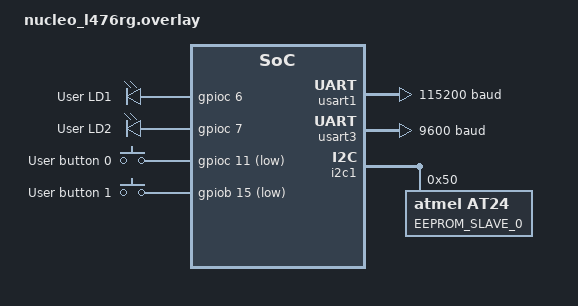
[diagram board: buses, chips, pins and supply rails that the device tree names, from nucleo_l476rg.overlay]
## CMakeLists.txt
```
# Boilerplate code, which pulls in the Zephyr build system.
cmake_minimum_required(VERSION 3.13.1)
macro(set_conf_file)
  if(EXISTS ${APPLICATION_SOURCE_DIR}/boards/${BOARD}.conf)
    set(CONF_FILE "prj.conf ${APPLICATION_SOURCE_DIR}/boards/${BOARD}.conf")
  else()
    set(CONF_FILE "prj.conf")
  endif()
endmacro()
include($ENV{ZEPHYR_BASE}/cmake/app/boilerplate.cmake NO_POLICY_SCOPE)

project(loraiot)
# Add all sources files from src/ recuresively
FILE(GLOB_RECURSE csources src/*.c)
target_sources(app PRIVATE ${csources})

# add inc/ to include dir
target_include_directories(app PRIVATE inc/)

#FILE(GLOB app_sources src/*.c)
#target_sources(app PRIVATE ${app_sources})
```

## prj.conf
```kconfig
# disable assertion in production

CONFIG_LORA=y
CONFIG_LORA_IM881A=y
CONFIG_UART_INTERRUPT_DRIVEN=y

CONFIG_SHELL=y
CONFIG_SHELL_LOG_BACKEND=y
CONFIG_KERNEL_SHELL=y
CONFIG_DEVICE_SHELL=y
CONFIG_SHELL_BACKEND_SERIAL=y
CONFIG_OBJECT_TRACING=y
CONFIG_THREAD_MONITOR=y
CONFIG_INIT_STACKS=y
CONFIG_BOOT_BANNER=y
CONFIG_PERFORMANCE_METRICS=y
CONFIG_BOOT_TIME_MEASUREMENT=y
CONFIG_THREAD_NAME=y
CONFIG_LOG=y
CONFIG_LOG_DEFAULT_LEVEL=3
CONFIG_SHELL_HISTORY=y
CONFIG_SHELL_STACK_SIZE=1024
CONFIG_SHELL_CMD_BUFF_SIZE=128
CONFIG_SHELL_WILDCARD=n
CONFIG_SHELL_VT100_COLORS=y
CONFIG_SHELL_HELP_ON_WRONG_ARGUMENT_COUNT=y
CONFIG_SHELL_STATS=y
CONFIG_SHELL_CMDS=y
#CONFIG_SYS_POWER_LOW_POWER_STATE=y
#CONFIG_SYS_POWER_DEEP_SLEEP=y
CONFIG_DEVICE_POWER_MANAGEMENT=y
CONFIG_SYS_POWER_MANAGEMENT=y
#CONFIG_SYS_POWER_LOW_POWER_STATES=y
CONFIG_TICKLESS_IDLE=y
CONFIG_TICKLESS_IDLE_THRESH=1
CONFIG_COUNTER=y
```

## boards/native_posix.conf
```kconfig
CONFIG_UART_NATIVE_POSIX=y
CONFIG_SERIAL=y
CONFIG_LED_STRIP=y
#CONFIG_NATIVE_UART_0_ON_OWN_PTY=y
#CONFIG_SDL_DISPLAY_DEV_NAME="DISPLAY"
#CONFIG_SDL_DISPLAY_X_RES=250
#CONFIG_SDL_DISPLAY_Y_RES=120
#CONFIG_DISPLAY=y
#CONFIG_CFB_LOG_LEVEL_DBG=y
#CONFIG_CHARACTER_FRAMEBUFFER=y
```

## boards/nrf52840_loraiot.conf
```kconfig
CONFIG_LORA_IM881A_UART_DRV_NAME="UART_0"
```

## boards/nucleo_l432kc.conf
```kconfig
CONFIG_POLL=y
CONFIG_SPI=y

CONFIG_OPENOCD_SUPPORT=y

CONFIG_SERIAL=y
CONFIG_UART_STM32=y
CONFIG_UART_1=y

CONFIG_LORA_IM881A_UART_DRV_NAME="UART_1"

CONFIG_PWM=n
CONFIG_CLOCK_STM32_SYSCLK_SRC_MSI=y
CONFIG_CLOCK_STM32_MSI_RANGE=7
CONFIG_CLOCK_STM32_SYSCLK_SRC_PLL=n
CONFIG_CLOCK_STM32_PLL_SRC_HSI=n
#CONFIG_CLOCK_STM32_PLL_M_DIVISOR=n
CONFIG_SYS_CLOCK_HW_CYCLES_PER_SEC=8000000
CONFIG_SYS_POWER_LOW_POWER_STATES=y
CONFIG_SYS_POWER_DEEP_SLEEP_STATES=y
CONFIG_SYS_POWER_MANAGEMENT=y
#CONFIG_COUNTER_RTC_STM32_CLOCK_LSE=y
```

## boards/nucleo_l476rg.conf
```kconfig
CONFIG_POLL=y
CONFIG_SPI=n

CONFIG_OPENOCD_SUPPORT=y

CONFIG_SERIAL=y
CONFIG_UART_STM32=y
CONFIG_UART_1=y
CONFIG_UART_2=y
CONFIG_UART_3=y
CONFIG_LORA_IM881A_UART_DRV_NAME="UART_1"

CONFIG_I2C=y
CONFIG_I2C_GPIO=y
CONFIG_I2C_0=y
CONFIG_I2C_GPIO_0=y
CONFIG_I2C_GPIO_0_GPIO="GPIOB"
CONFIG_I2C_GPIO_0_SCL_PIN=6
CONFIG_I2C_GPIO_0_SDA_PIN=7

CONFIG_PWM=n
CONFIG_CLOCK_STM32_SYSCLK_SRC_MSI=y
CONFIG_CLOCK_STM32_MSI_RANGE=7
CONFIG_CLOCK_STM32_SYSCLK_SRC_PLL=n
CONFIG_CLOCK_STM32_PLL_SRC_HSI=n
#CONFIG_CLOCK_STM32_PLL_M_DIVISOR=n
CONFIG_SYS_CLOCK_HW_CYCLES_PER_SEC=8000000
CONFIG_SYS_POWER_LOW_POWER_STATES=y
CONFIG_SYS_POWER_DEEP_SLEEP_STATES=y
CONFIG_SYS_POWER_MANAGEMENT=y
#CONFIG_COUNTER_RTC_STM32_CLOCK_LSE=y
```

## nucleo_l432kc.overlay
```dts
/*
 * Copyright (c) 2018 Nordic Semiconductor ASA
 *
 * SPDX-License-Identifier: Apache-2.0
 */

 &usart1 {
 	current-speed = <115200>;
 	pinctrl-0 = <&usart1_pins_b>;
 	pinctrl-names = "default";
    status = "ok";
 };
```

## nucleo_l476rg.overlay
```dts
/*
* Copyright (c) 2018 Nordic Semiconductor ASA
*
* SPDX-License-Identifier: Apache-2.0
*/

&usart1 {
	current-speed = <115200>;
	pinctrl-0 = <&usart1_pins_b>;
	pinctrl-names = "default";
   status = "ok";
};

&usart3 {
   current-speed = <9600>;
   pinctrl-0 = <&usart3_pins_b>;
   pinctrl-names = "default";
   status = "ok";
};

&i2c1 {
	eeprom@50 {
		compatible = "atmel,at24";
		reg = <0x50>;
		label = "EEPROM_SLAVE_0";
		size = <1>;
	};
};

/ {
	leds {
		compatible = "gpio-leds";
		green_led_1: led_1 {
			gpios = <&gpioc 6 GPIO_INT_ACTIVE_HIGH>;
			label = "User LD1";
		};
		red_led_2: led_2 {
			gpios = <&gpioc 7 GPIO_INT_ACTIVE_HIGH>;
			label = "User LD2";
		};
	};

	gpio_keys {
		compatible = "gpio-keys";
		user_button0: button0 {
			label = "User button 0";
			gpios = <&gpioc 11 GPIO_INT_ACTIVE_LOW>;
		};
        user_button1: button1 {
			label = "User button 1";
			gpios = <&gpiob 15 GPIO_INT_ACTIVE_LOW>;
		};
	};

	aliases {
		led0 = &green_led_1;
        led1 = &red_led_2;
		sw0 = &user_button0;
        sw1 = &user_button1;
	};
};
```

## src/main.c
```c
/*
 * Copyright (c) 2017 Intel Corporation
 *
 * SPDX-License-Identifier: Apache-2.0
 */

#include <zephyr.h>
#include <logging/sys_log.h>
#include <board_utils.h>
#include "shell_lora.h"
#include <kernel.h>
#include <device.h>
#include "stm32_lp.h"

#include <string.h>

#include "lora.h"
#include "gps.h"
#include "saved_config.h"
#include "global.h"
#include <sensor.h>

struct global_t global;

#include <logging/log.h>
LOG_MODULE_REGISTER(main, LOG_LEVEL_DBG);

#if CONFIG_LORA_IM881A
#include <im881a.h>
#endif

#include <device.h>
#include <gpio.h>
#include <crc.h>

static void leds_init(void)
{
	struct device *led0_dev = device_get_binding(LED0_GPIO_CONTROLLER);
	struct device *led1_dev = device_get_binding(LED1_GPIO_CONTROLLER);
	gpio_pin_configure(led0_dev, LED0_GPIO_PIN, GPIO_DIR_OUT);
	gpio_pin_configure(led1_dev, LED1_GPIO_PIN, GPIO_DIR_OUT);

	gpio_pin_write(led0_dev, LED0_GPIO_PIN, 1);
	gpio_pin_write(led1_dev, LED1_GPIO_PIN, 1);
}

static void led0_set(u32_t value)
{
	struct device *led0_dev = device_get_binding(LED0_GPIO_CONTROLLER);
	gpio_pin_write(led0_dev, LED0_GPIO_PIN, value);
}

static void led1_set(u32_t value)
{
	struct device *led1_dev = device_get_binding(LED1_GPIO_CONTROLLER);
	gpio_pin_write(led1_dev, LED1_GPIO_PIN, value);
}

#include <kernel.h>
#include <arch/cpu.h>
#include <misc/__assert.h>
#include <soc.h>
#include <init.h>
#include <uart.h>
#include <clock_control.h>

#include <linker/sections.h>
#include <clock_control/stm32_clock_control.h>
#include "../drivers/serial/uart_stm32.h"
#define DEV_CFG(dev)							\
	((const struct uart_stm32_config * const)(dev)->config->config_info)
#define DEV_DATA(dev)							\
	((struct uart_stm32_data * const)(dev)->driver_data)
#define UART_STRUCT(dev)					\
	((USART_TypeDef *)(DEV_CFG(dev))->uconf.base)

struct periodic_timer_t
{
	u32_t next;
	u32_t period;
	u32_t enable;
};

static u32_t expiry(const struct periodic_timer_t *t, u32_t now)
{
	u32_t x = now - t->next;
	if (x > INT32_MAX)
	{
		return 0;
	}

	return x;
}

static u32_t expired(const struct periodic_timer_t *t, u32_t now)
{
	return (now - t->next) > 0 && t->enable;
}

static u32_t expired_restart(struct periodic_timer_t *t, u32_t now)
{
	u32_t ex = 0;

	if (expired(t, now))
	{
		ex = 1;

		t-> next = ((now / t->period) + 1) * t->period;
	}

	return ex;
}

static void restart_psnr(struct periodic_timer_t *t, u32_t now, u32_t pr)
{
	t->next = (((now / t->period) + 1) * t->period) + (pr % t->period);
}

static struct periodic_timer_t measure_timer =
{
	.next = 0,
	.period = 5*60,
	.enable = 1,
};

static struct periodic_timer_t tx_timer =
{
	.next = 0,
	.period = 15*60,
	.enable = 1,
};

static struct periodic_timer_t sync_timer =
{
	.next = 0,
	.period = 12*60*60,
	.enable = 1,
};

static const struct periodic_timer_t *timers[] =
{
	&measure_timer,
	&tx_timer,
	&sync_timer,
};

static u32_t expiry_min(const struct periodic_timer_t **ts, size_t nr, u32_t now)
{
	u32_t min = INT32_MAX;

	for (int i = 0 ; i < nr ; i++)
	{
		u32_t ex = expiry(ts[i], now);

		if (ex < min)
		{
			min = ex;
		}
	}

	return min;
}

static void tick(u32_t now)
{
	u32_t last_measure_ts = 0;

	if (expired_restart(&measure_timer, now))
	{
		// FIXME do the measure
		last_measure_ts = now;
	}

	if (expired(&tx_timer, now))
	{
		// FIXME do the TX
		u8_t devaddr[6] = {1,2,3,4,5,6}; // FIMXE
		u8_t data[10];
		memcpy(&data[0], devaddr, sizeof(devaddr));
		memcpy(&data[6], &last_measure_ts, sizeof(last_measure_ts));
		u32_t pr = crc32_ieee(data, sizeof(data));
		restart_psnr(&tx_timer, now, pr);
	}

	if (expired_restart(&sync_timer, now))
	{
		// FIXME request time or do gps sync
	}

	u32_t sleep = expiry_min(timers, ARRAY_SIZE(timers), now);
}


void main(void)
{
	int ret;

	LOG_DBG("main");

	struct device *dev;

	/* Disable vbat measure */
	dev = device_get_binding(DT_GPIO_STM32_GPIOC_LABEL);
	ret = gpio_pin_configure(dev, 0, (GPIO_DIR_IN));
	dev = device_get_binding(DT_GPIO_STM32_GPIOA_LABEL);
	ret = gpio_pin_configure(dev, 8, (GPIO_DIR_IN));

	/* disable rx/tx radio for firmware update */
	#if 0
	{
		dev = device_get_binding(DT_GPIO_STM32_GPIOA_LABEL);
		ret = gpio_pin_configure(dev, 9, (GPIO_DIR_IN));
		if (ret) {
			printk("Error configuring pin PA%d!\n", 9);
		}
		ret = gpio_pin_configure(dev, 10, (GPIO_DIR_IN));
		if (ret) {
			printk("Error configuring pin PA%d!\n", 10);
		}
	}
	#endif

	/*
	USART_TypeDef *UartInstance = UART_STRUCT(device_get_binding("UART_2"));

	printk("UART_2->BRR:%"PRIu32"\n", UartInstance->BRR);
	*/

	lp_init();
	leds_init();
	psu_5v(0);
	psu_ind(0);
	psu_charge(1);
	psu_cpu_hp(1);
	saved_config_init();
	gps_off();

	lora_off();

	led0_set(0);
	led1_set(0);

	//stm32_swd_off();
	//stm32_sleep(10000);
	stm32_swd_on();
	//k_sleep(3000);
	//stm32_sleep(0);

	//gps_init();

	//
	lora_on();
	lora_init();
	//lora_shell_pm();
}
```

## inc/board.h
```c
/*************************************************************************//**
 * \file board.h
 * \brief board include selection
 *
 * \author Marc Pignat
 * \copyright Copyright (c) 2019 Marc Pignat
 *
 **************************************************************************//*
 * SPDX-License-Identifier: Apache-2.0
 ****************************************************************************/

#ifndef INC_BOARD_H
#define INC_BOARD_H

#ifdef CONFIG_BOARD_NRF52840_LORAIOT
#include <board.h>
#endif

#ifdef __cplusplus
extern "C"
{
#endif

#ifdef __cplusplus
}
#endif

#endif /* INC_BOARD_H */
```

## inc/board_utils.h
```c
/*************************************************************************//**
 * \file board_utils.h
 * \brief board include selection
 *
 * \author Marc Pignat
 * \copyright Copyright (c) 2019 Marc Pignat
 *
 **************************************************************************//*
 * SPDX-License-Identifier: Apache-2.0
 ****************************************************************************/

#ifndef INC_BOARD_UTILS_H
#define INC_BOARD_UTILS_H

#ifdef CONFIG_BOARD_NRF52840_LORAIOT
#include <board_utils.h>
#else

#define SENSOR_ACTIVATE(name)	do {} while (0)
#define SENSOR_DEACTIVATE(name)	do {} while (0)

#define VDDH_ACTIVATE()			do {} while (0)
#define VDDH_DEACTIVATE()		do {} while (0)
#define VDDH_IS_ENABLED()		do {} while (0)

#define NOT_IN_DEBUG()	( 1 )

#ifdef __cplusplus
extern "C"
{
#endif

static inline void power_sensor(const char *name, u8_t power){}
static inline void enable_high_voltage(u8_t status){}
static inline void led_on(u8_t led){}
static inline void led_off(u8_t led){}
static inline void led_toggle(u8_t led){}
static inline void blink_led(u8_t led, u32_t period_ms, u32_t duration_ms){}

#ifdef __cplusplus
}
#endif

#endif

#endif /* INC_BOARD_UTILS_H */
```

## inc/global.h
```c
/*************************************************************************//**
 * \file gloabl.h
 * \brief board include selection
 *
 * \author Marc Pignat
 * \copyright Copyright (c) 2019 Marc Pignat
 *
 **************************************************************************//*
 * SPDX-License-Identifier: Apache-2.0
 ****************************************************************************/

#ifndef GLOBAL_H
#define GLOBAL_H

struct global_t
{
	u8_t lora_TokenReq;
};

#ifdef __cplusplus
extern "C"
{
#endif

extern struct global_t global;

#ifdef __cplusplus
}
#endif

#endif /* GLOBAL_H */
```

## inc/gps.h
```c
#ifndef GPS_H
#define GPS_H

#ifdef __cplusplus
extern "C"
{
#endif

void gps_init(void);
void gps_off(void);

#ifdef __cplusplus
}
#endif

#endif /* GPS_H */
```

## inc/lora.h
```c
#ifndef _LORA_H
#define _LORA_H

#include <stdint.h>

#ifdef __cplusplus
extern "C"
{
#endif

void lora_init(void);
void lora_off(void);
void disable_uart(void);
void enable_uart(void);
void lora_time_AppTimeReq(uint8_t AnsRequired);

#ifdef __cplusplus
}
#endif

#endif /* _LORA_H */
```

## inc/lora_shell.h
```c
#ifndef LORA_SHELL_H
#define LORA_SHELL_H

void lora_shell_pm(void);

#endif /* LORA_SHELL_H */
```

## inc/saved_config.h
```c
#ifndef SAVED_CONFIG_H
#define SAVED_CONFIG_H

#include <stdint.h>

#ifdef __cplusplus
extern "C"
{
#endif

struct saved_config_t
{
	uint32_t version;
	uint32_t boot_count;
	uint32_t revision;
	uint8_t _reserved[48+2*64];
	uint32_t crc;
};

void saved_config_init(void);

int saved_config_read(struct saved_config_t *config);
int saved_config_save(struct saved_config_t *config);

#ifdef __cplusplus
}
#endif

#endif /* SAVED_CONFIG_H */
```

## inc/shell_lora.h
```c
#ifndef SHELL_LORA_H
#define SHELL_LORA_H

void lora_shell_pm(void);

#endif /* SHELL_LORA_H */
```

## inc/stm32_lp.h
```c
#ifndef STM32_LP_H
#define STM32_LP_H

#ifdef __cplusplus
extern "C"
{
#endif

void stm32_sleep(u32_t duration);
void stm32_swd_off(void);
void stm32_swd_on(void);
void psu_5v(u32_t enable);
void psu_ind(u32_t enable);
void psu_charge(u32_t enable);
void psu_cpu_hp(u32_t enable);
void lp_init(void);

#ifdef __cplusplus
}
#endif

#endif /* STM32_LP_H */
```

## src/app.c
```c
#include <zephyr.h>
#include <logging/sys_log.h>
#include <board_utils.h>

#include <kernel.h>
#include <device.h>
#include <gpio.h>

#include <string.h>

#include "sensors.h"
#include "lora.h"
#include <sensor.h>
#include <lpcomp.h>

#if CONFIG_SEGGER_SYSTEMVIEW
#include <systemview/SEGGER_SYSVIEW.h>
#include "sysview.h"
#endif

#if CONFIG_LORA
#include <wimod_lorawan_api.h>
#endif

#define SOUND_DETECTION_WINDOW		180 // seconds
#define SOUND_BLIND_TIME			120	// seconds
#define LORA_MOTION_SOUND_PORT		5

#if CONFIG_LORA
K_THREAD_STACK_DEFINE(lora_msg_stack, 1024);
static struct k_work_q lora_msg_work_q;
static u8_t sound_activated;

struct lora_msg {
	u8_t port;
	u8_t data[20];
	u8_t size;
	struct k_work work;
};

static struct lora_msg lmsg;
#endif // CONFIG_LORA


#if CONFIG_PYD1588
static struct sensor_trigger motion_trig;

#if CONFIG_ANALOGMIC
void disable_sound_detection(struct k_timer *timer_id)
{
	// No detection during SOUND_DETECTION_WINDOW seconds:
	// disable the microphone and re-enable back the motion detector

    SYS_LOG_INF("Microphone disabled. Motion re-enabled.\n");

#if CONFIG_LPCOMP_NRF5
	struct device *lpcomp;
	lpcomp = device_get_binding(CONFIG_LPCOMP_NRF5_DEV_NAME);
	lpcomp_disable(lpcomp);
#endif

	SENSOR_DEACTIVATE(CONFIG_ANALOGMIC_NAME);
	sound_activated = 0;
	SENSOR_ACTIVATE(CONFIG_PYD1588_NAME);
	blink_led(LED_RED, MSEC_PER_SEC/2, K_SECONDS(3));

#if CONFIG_SEGGER_SYSTEMVIEW
    SEGGER_SYSVIEW_PrintfHost("Microphone disabled. Motion re-enabled.");
#endif

#if CONFIG_LORA
	lmsg.data[0] = 0x30;
	lmsg.size = 1;
	lmsg.port = LORA_MOTION_SOUND_PORT;
	k_work_submit(&lmsg.work);
#endif
}
K_TIMER_DEFINE(sound_detection_timeout, disable_sound_detection, NULL);

void enable_sound_detection(struct k_timer *timer_id)
{
	SENSOR_ACTIVATE(CONFIG_ANALOGMIC_NAME);
	sound_activated = 1;
	SYS_LOG_INF("Sound detection re-enabled\n");
#if CONFIG_SEGGER_SYSTEMVIEW
    SEGGER_SYSVIEW_PrintfHost("Microphone enabled for %d", SOUND_DETECTION_WINDOW);
#endif
	k_timer_start(&sound_detection_timeout, K_SECONDS(SOUND_DETECTION_WINDOW), 0);
}
K_TIMER_DEFINE(sound_timeout, enable_sound_detection, NULL);

#endif

static void motion_handler(struct device *dev, struct sensor_trigger *trig)
{
	SYS_LOG_INF("Motion detected 2\n");
	blink_led(LED_GREEN, MSEC_PER_SEC/8, K_SECONDS(2));
	SENSOR_DEACTIVATE(CONFIG_PYD1588_NAME);
#if CONFIG_ANALOGMIC
	k_timer_start(&sound_timeout, K_SECONDS(SOUND_BLIND_TIME), 0);
#endif

#if CONFIG_SEGGER_SYSTEMVIEW
    SEGGER_SYSVIEW_PrintfHost("Motion detected");
#endif

#if CONFIG_LORA
	lmsg.data[0] = 0x10;
	lmsg.size = 1;
	lmsg.port = LORA_MOTION_SOUND_PORT;
	k_work_submit(&lmsg.work);
#endif
}
#endif

#if CONFIG_ANALOGMIC
static struct sensor_trigger sound_trig;

static void sound_handler(struct device *dev, struct sensor_trigger *trig)
{
	SYS_LOG_INF("Sound detected 2\n");
	k_timer_stop(&sound_detection_timeout);

#if CONFIG_LPCOMP_NRF5
	struct device *lpcomp;
	lpcomp = device_get_binding(CONFIG_LPCOMP_NRF5_DEV_NAME);
	lpcomp_disable(lpcomp);
#endif

	blink_led(LED_BLUE, MSEC_PER_SEC/4, K_SECONDS(1));

	SENSOR_DEACTIVATE(CONFIG_ANALOGMIC_NAME);
	k_timer_start(&sound_timeout, K_SECONDS(SOUND_BLIND_TIME), 0);

#if CONFIG_SEGGER_SYSTEMVIEW
    SEGGER_SYSVIEW_PrintfHost("Sound detected");
#endif

#if CONFIG_LORA
	lmsg.data[0] = 0x20;
	lmsg.size = 1;
	lmsg.port = LORA_MOTION_SOUND_PORT;
	k_work_submit(&lmsg.work);
#endif

}
#endif

#if CONFIG_LORA
static void lora_msg_send(struct k_work *item)
{
	struct lora_msg *msg = CONTAINER_OF(item, struct lora_msg, work);

	enable_uart();
	wimod_lorawan_send_c_radio_data(msg->port, msg->data, msg->size);
	disable_uart();

	VDDH_DEACTIVATE();

}
#endif

static void app()
{
	struct device *dev;

	SYS_LOG_DBG("Start application\n");

#if CONFIG_PYD1588
	dev = device_get_binding(CONFIG_PYD1588_NAME);
	motion_trig.type = SENSOR_TRIG_TAP;
	if(sensor_trigger_set(dev, &motion_trig, motion_handler) < 0){
		SYS_LOG_ERR("Cannot enable tap trigger for motion.");
	}

	SENSOR_ACTIVATE(CONFIG_PYD1588_NAME);
#endif

#if CONFIG_ANALOGMIC
	dev = device_get_binding(CONFIG_ANALOGMIC_NAME);
	sound_trig.type = SENSOR_TRIG_TAP;
	if(sensor_trigger_set(dev, &sound_trig, sound_handler) < 0){
		SYS_LOG_ERR("Cannot enable tap trigger for sound.");
	}

#if CONFIG_LPCOMP_NRF5
	struct device *lpcomp;
	lpcomp = device_get_binding(CONFIG_LPCOMP_NRF5_DEV_NAME);
	lpcomp_disable(lpcomp);
#endif
#endif

#if CONFIG_LORA
	k_work_q_start(&lora_msg_work_q, lora_msg_stack,
		   K_THREAD_STACK_SIZEOF(lora_msg_stack), K_PRIO_PREEMPT(0));

	k_work_init(&lmsg.work, lora_msg_send);
#endif
}

static void periodic_app()
{
	struct device *dev;
	struct sensor_value sense_value;
	int ret;
	double temp;
	u8_t tx_data[15];
	u16_t value;

	while (1) {

#if 1
		tx_data[0] = 0x01;

		/* Temperature & Humidity */
		/***********************************************************************/
		SENSOR_ACTIVATE(CONFIG_SHTC1_NAME);

		dev = device_get_binding(CONFIG_SHTC1_NAME);
		ret = sensor_sample_fetch(dev);
		if (ret) {
			SYS_LOG_ERR("Sample fetch failed %d\n", ret);
		}

		SENSOR_DEACTIVATE(CONFIG_SHTC1_NAME);

		ret = sensor_channel_get(dev, SENSOR_CHAN_AMBIENT_TEMP, &sense_value);
		temp = sensor_value_to_double(&sense_value);
		value = (int)(temp*100);
		tx_data[1] = value >> 8;
		tx_data[2] = value;

		ret = sensor_channel_get(dev, SENSOR_CHAN_HUMIDITY, &sense_value);
		temp = sensor_value_to_double(&sense_value);
		value = (int)(temp*100);
		tx_data[3] = value >> 8;
		tx_data[4] = value;

		/* Light */
		/***********************************************************************/
		SENSOR_ACTIVATE(CONFIG_OPT3002_NAME);
		dev = device_get_binding(CONFIG_OPT3002_NAME);
		ret = sensor_sample_fetch(dev);
		if (ret) {
			SYS_LOG_ERR("Sample fetch failed %d\n", ret);
		}
		SENSOR_DEACTIVATE(CONFIG_OPT3002_NAME);

		ret = sensor_channel_get(dev, SENSOR_CHAN_LIGHT, &sense_value);
		temp = sensor_value_to_double(&sense_value);
		value = (int)(temp/1000); // in uW/cm2
		tx_data[5] = value >> 8;
		tx_data[6] = value;


		/* Voltages */
		/***********************************************************************/
		VDDH_ACTIVATE();
		SENSOR_ACTIVATE(CONFIG_PAC1934_NAME);
		dev = device_get_binding(CONFIG_PAC1934_NAME);
		ret = sensor_sample_fetch(dev);
		if (ret) {
			SYS_LOG_ERR("Sample fetch failed %d\n", ret);
		}
		SENSOR_DEACTIVATE(CONFIG_PAC1934_NAME);

		// Primary battery voltage
		ret = sensor_channel_get(dev, SENSOR_CHAN_VOLTAGE_1, &sense_value);
		temp = sensor_value_to_double(&sense_value);
		value = (int)(temp*1000);
		tx_data[7] = value >> 8;
		tx_data[8] = value;

		// Secondary battery voltage
		ret = sensor_channel_get(dev, SENSOR_CHAN_VOLTAGE_2, &sense_value);
		temp = sensor_value_to_double(&sense_value);
		value = (int)(temp*1000);
		tx_data[9] = value >> 8;
		tx_data[10] = value;

		// Solar voltage
		ret = sensor_channel_get(dev, SENSOR_CHAN_VOLTAGE_4, &sense_value);
		temp = sensor_value_to_double(&sense_value);
		value = (int)(temp*1000);
		tx_data[11] = value >> 8;
		tx_data[12] = value;

		// Solar current
		ret = sensor_channel_get(dev, SENSOR_CHAN_CURRENT_4, &sense_value);
		temp = sensor_value_to_double(&sense_value);
		value = (int)(temp*1e6); // in uA
		tx_data[13] = value >> 8;
		tx_data[14] = value;
#endif

#if CONFIG_LORA
		memcpy(lmsg.data, tx_data, 15);
		lmsg.size = 15;
		lmsg.port = 1;
		k_work_submit(&lmsg.work);
#endif

		// BUG: Patch: need to deactivate the microphone while sending lora message.
		// Somehow the voltage drops below 1.8V when the a lora packet is sent while
		// the microphone is activated.
		if(sound_activated){
		    SENSOR_ACTIVATE(CONFIG_ANALOGMIC_NAME);
		}
		k_sleep(MSEC_PER_SEC*300);
		if(sound_activated){
#if CONFIG_LPCOMP_NRF5
            struct device *lpcomp;
            lpcomp = device_get_binding(CONFIG_LPCOMP_NRF5_DEV_NAME);
            lpcomp_disable(lpcomp);
#endif
		    SENSOR_DEACTIVATE(CONFIG_ANALOGMIC_NAME);
		}
	}
}

K_THREAD_DEFINE(app_thread_id, 1024, app, NULL, NULL, NULL,
        K_PRIO_PREEMPT(0), 0, K_NO_WAIT);


K_THREAD_DEFINE(periodic_app_thread_id, 1024, periodic_app, NULL, NULL, NULL,
		K_PRIO_PREEMPT(10), 0, K_SECONDS(5));
```

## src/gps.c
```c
#include "gps.h"
#include <zephyr.h>

#include <logging/log.h>
LOG_MODULE_REGISTER(gps, LOG_LEVEL_DBG);

static struct device *uart;
static struct uart_device_config *uart_cfg;

#include <uart.h>
#include <gpio.h>

#include <pinmux.h>
#include <sys_io.h>

#include <pinmux/stm32/pinmux_stm32.h>

/* manual pin assignments*/
static const struct pin_config pinconf[] = {
	{STM32_PIN_PC4, STM32L4X_PINMUX_FUNC_PC4_USART3_TX},
	{STM32_PIN_PC5, STM32L4X_PINMUX_FUNC_PC5_USART3_RX},
};

static K_FIFO_DEFINE(gps_fifo);
struct data_item_t {
	void *fifo_reserved;   /* 1st word reserved for use by fifo */
	char data[100];
};

static struct data_item_t isr_buffer;
static u32_t isr_index = 0;

static void gps_uart_isr(struct device *unused)
{
	ARG_UNUSED(unused);

	while (uart_irq_update(uart) && uart_irq_is_pending(uart))
	{

		if (!uart_irq_rx_ready(uart)) {
			if (uart_irq_tx_ready(uart)) {
				LOG_DBG("transmit ready");
			} else {
				LOG_DBG("spurious interrupt");
			}
			/* Only the UART RX path is interrupt-enabled */
			break;
		}

		int n;

		for (;;)
		{
			uint8_t buf;
			n = uart_fifo_read(uart, &buf, sizeof(buf));
			if (n <= 0) break;

			if (isr_index > ARRAY_SIZE(isr_buffer.data) - 1)
			{
				isr_index = 0;
			}

			if (buf == '\r')
			{
				continue;
			}

			if (buf == '\n')
			{
				isr_buffer.data[isr_index++] = 0;
				isr_index = 0;
				k_fifo_put(&gps_fifo, &isr_buffer);
				continue;
			}

			isr_buffer.data[isr_index++] = buf;
		}
	}
}

void gps_thread(void *u1, void *u2, void *u3)
{
	ARG_UNUSED(u1);
	ARG_UNUSED(u2);
	ARG_UNUSED(u3);

	int ret;
	struct device *dev;

	struct uart_config c = {
		.baudrate	= 9600,
		.parity		= UART_CFG_PARITY_NONE,
		.stop_bits	= UART_CFG_STOP_BITS_1,
		.data_bits	= UART_CFG_DATA_BITS_8,
		.flow_ctrl	= UART_CFG_FLOW_CTRL_NONE,
	};

	/*usart pins*/
	stm32_setup_pins(pinconf, ARRAY_SIZE(pinconf));

	uart = device_get_binding("UART_3");
	LOG_DBG("uart = %p", uart);
	uart_cfg = (struct uart_device_config *)(uart->config->config_info);
	if (!uart) {
		printk("Error uart not found");
	}

	ret = uart_configure(uart, &c);
	if (ret) {
		printk("Error uart config failed");
	}

	uart_irq_rx_disable(uart);
	uart_irq_tx_disable(uart);

	uart_irq_callback_set(uart, gps_uart_isr);

	uart_irq_rx_enable(uart);

	/* Power on gps module */
	dev = device_get_binding(DT_GPIO_STM32_GPIOC_LABEL);
	ret = gpio_pin_configure(dev, 13, (GPIO_DIR_OUT));
	if (ret) {
		printk("Error configuring pin PC%d!\n", 13);
	}

	ret = gpio_pin_write(dev, 13, 1);
	if (ret) {
		printk("Error set pin PC%d!\n", 13);
	}

	/* backup on gps module */
	if (1)
	{
		dev = device_get_binding(DT_GPIO_STM32_GPIOA_LABEL);
		ret = gpio_pin_configure(dev, 12, (GPIO_DIR_OUT));
		if (ret) {
			printk("Error configuring pin PA%d!\n", 12);
		}

		ret = gpio_pin_write(dev, 12, 1);
		if (ret) {
			printk("Error set pin PA%d!\n", 12);
		}
	}

	for (;;)
	{
		struct data_item_t *buffer = k_fifo_get(&gps_fifo, K_FOREVER);

		LOG_DBG("gps rx:'%s'", buffer->data);
	}
}

#if 0
K_THREAD_DEFINE(gps_tid, 1024,
                gps_thread, NULL, NULL, NULL,
                5, 0, K_NO_WAIT);
#endif

void gps_init(void)
{

}

void gps_off(void)
{
	int ret;
	struct device *dev;

	/* Power off gps backup */
	dev = device_get_binding(DT_GPIO_STM32_GPIOA_LABEL);
	ret = gpio_pin_configure(dev, 12, (GPIO_DIR_OUT));
	ret = gpio_pin_write(dev, 12, 0);

	/* Power off gps module */
	dev = device_get_binding(DT_GPIO_STM32_GPIOC_LABEL);
	ret = gpio_pin_configure(dev, 13, (GPIO_DIR_OUT));
	ret = gpio_pin_write(dev, 13, 0);

	/* Disable uart pins */
	dev = device_get_binding(DT_GPIO_STM32_GPIOC_LABEL);
	ret = gpio_pin_configure(dev, 4, (GPIO_DIR_IN));
	ret = gpio_pin_configure(dev, 5, (GPIO_DIR_IN));

	/* Disable PPS pin */
	dev = device_get_binding(DT_GPIO_STM32_GPIOC_LABEL);
	ret = gpio_pin_configure(dev, 12, (GPIO_DIR_IN));
}
```

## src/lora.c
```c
#include "lora.h"
#include <zephyr.h>

#include <logging/log.h>
#include <device.h>
#include <counter.h>
#include "global.h"
#include <pinmux/stm32/pinmux_stm32.h>

LOG_MODULE_REGISTER(lora, LOG_LEVEL_DBG);

#ifdef CONFIG_LORA_IM881A
#include <wimod_lorawan_api.h>
#endif

#ifdef CONFIG_BOARD_NRF52840_LORAIOT
#include <board_utils.h>
#endif

#include <gpio.h>

static struct device *uart;
static struct uart_device_config *uart_cfg;

K_THREAD_STACK_DEFINE(lora_msg_stack, 1024);
static struct k_work_q lora_msg_work_q;

struct lora_msg {
	u8_t port;
	u8_t data[20];
	u8_t size;
	struct k_work work;
};

static struct lora_msg lmsg;

#include <uart.h>

void join_callback()
{
	LOG_INF("LoRaWAN Network started.\n");
	//blink_led(LED_GREEN, MSEC_PER_SEC/4, K_SECONDS(3));
	#ifdef CONFIG_BOARD_NRF52840_LORAIOT
		VDDH_DEACTIVATE();
	#endif
}

void disable_uart()
{
	#ifdef CONFIG_BOARD_NRF52840_LORAIOT
	if( NOT_IN_DEBUG() ){
		*(uart_cfg->base + 0x500) = 0;
	}
	#endif
}

void enable_uart()
{
	#ifdef CONFIG_BOARD_NRF52840_LORAIOT
	if( NOT_IN_DEBUG() ){
		*(uart_cfg->base + 0x500) = 4UL;
	}
	#endif
}

static void lora_msg_send(struct k_work *item)
{
	struct lora_msg *msg = CONTAINER_OF(item, struct lora_msg, work);

	enable_uart();
	wimod_lorawan_send_c_radio_data(msg->port, msg->data, msg->size);
	disable_uart();
	#ifdef CONFIG_BOARD_NRF52840_LORAIOT
	VDDH_DEACTIVATE();
	#endif
}

void lora_init()
{
	uart = device_get_binding(CONFIG_LORA_IM881A_UART_DRV_NAME);
	uart_cfg = (struct uart_device_config *)(uart->config->config_info);

	/* BUG: couldn't launch the debug when the function 'uart_irq_rx_enable' is called too quickly */
	k_busy_wait(1000000);

	#ifdef CONFIG_BOARD_NRF52840_LORAIOT
	VDDH_ACTIVATE();
	#endif

	wimod_lorawan_init();

	k_work_q_start(&lora_msg_work_q, lora_msg_stack,
		   K_THREAD_STACK_SIZEOF(lora_msg_stack), K_PRIO_PREEMPT(0));

	k_work_init(&lmsg.work, lora_msg_send);

	wimod_lorawan_join_network_request(join_callback);

	disable_uart();
}

void lora_off()
{
	int ret;
	struct device *dev;

	/* Power off radio module */
	dev = device_get_binding(DT_GPIO_STM32_GPIOD_LABEL);
	ret = gpio_pin_configure(dev, 2, (GPIO_DIR_OUT));
	ret = gpio_pin_write(dev, 2, 0);

	/* configure uart pins as inputs */
	dev = device_get_binding(DT_GPIO_STM32_GPIOA_LABEL);
	ret = gpio_pin_configure(dev, 9, (GPIO_DIR_IN));
	ret = gpio_pin_configure(dev, 10, (GPIO_DIR_IN));
}

static const struct pin_config pinconf_lora_uart[] = {
	{STM32_PIN_PA9, STM32L4X_PINMUX_FUNC_PA9_USART1_TX},
	{STM32_PIN_PA10, STM32L4X_PINMUX_FUNC_PA10_USART1_RX},
};

void lora_on()
{
	int ret;
	struct device *dev;

	/* Power on radio module */
	dev = device_get_binding(DT_GPIO_STM32_GPIOD_LABEL);
	ret = gpio_pin_configure(dev, 2, (GPIO_DIR_OUT));
	ret = gpio_pin_write(dev, 2, 1);

	stm32_setup_pins(pinconf_lora_uart, ARRAY_SIZE(pinconf_lora_uart));
}

void lora_time_AppTimeReq(u8_t AnsRequired)
{
	struct device *counter_dev;
	counter_dev = device_get_binding(DT_RTC_0_NAME);
	u32_t time = counter_read(counter_dev);

	u8_t TokenReq = global.lora_TokenReq;
	global.lora_TokenReq++;
	global.lora_TokenReq&=0x1f;

	const u8_t data[] =
	{
		0x01, // cid
		time >> 24,
		time >> 16,
		time >> 8,
		time >> 0,
		(AnsRequired ? (1 << 5) : 0) | (TokenReq & 0x1f)
	};

	wimod_lorawan_send_u_radio_data(202, data, sizeof(data));
}
```
